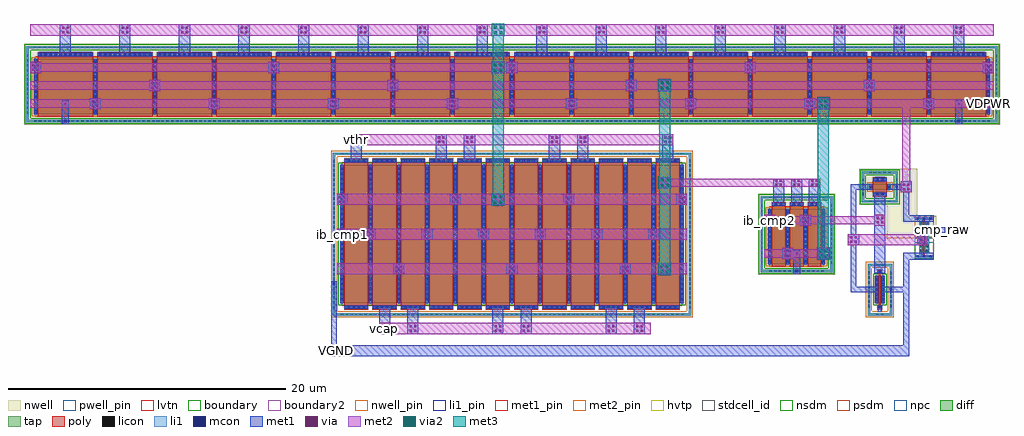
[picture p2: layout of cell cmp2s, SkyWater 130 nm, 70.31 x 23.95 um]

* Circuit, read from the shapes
.subckt cmp2s VDPWR VGND cmp_raw ib_cmp1 ib_cmp2 vcap vthr
XM1 ib_cmp1 vthr cmp2s_arr_0/sky130_fd_pr__nfet_01v8_lvt_XN8TAG_0/D0 VGND sky130_fd_pr__nfet_01v8_lvt w=10 l=1.75 m=6
XM2 cmp2s_arr_0/sky130_fd_pr__nfet_01v8_lvt_XN8TAG_0/D10 vcap ib_cmp1 VGND sky130_fd_pr__nfet_01v8_lvt w=10 l=1.75 m=6
XM3 VGND ib_cmp2 cmp2s_arr_0/sky130_fd_sc_hd__inv_1_5/A VGND sky130_fd_pr__nfet_01v8 w=2 l=0.15
XM4 cmp_raw cmp2s_arr_0/sky130_fd_sc_hd__inv_1_5/A VGND VGND sky130_fd_pr__nfet_01v8 w=0.65 l=0.15
XM5 VDPWR cmp2s_arr_0/sky130_fd_pr__nfet_01v8_lvt_XN8TAG_0/D0 cmp2s_arr_0/sky130_fd_pr__nfet_01v8_lvt_XN8TAG_0/D0 VDPWR sky130_fd_pr__pfet_01v8_lvt w=4 l=4 m=8
XM6 cmp2s_arr_0/sky130_fd_pr__nfet_01v8_lvt_XN8TAG_0/D10 cmp2s_arr_0/sky130_fd_pr__nfet_01v8_lvt_XN8TAG_0/D0 VDPWR VDPWR sky130_fd_pr__pfet_01v8_lvt w=4 l=4 m=8
XM7 VDPWR cmp2s_arr_0/sky130_fd_pr__nfet_01v8_lvt_XN8TAG_0/D10 ib_cmp2 VDPWR sky130_fd_pr__pfet_01v8_lvt w=4 l=1 m=3
XM8 VDPWR ib_cmp2 cmp2s_arr_0/sky130_fd_sc_hd__inv_1_5/A VDPWR sky130_fd_pr__pfet_01v8 w=0.42 l=1
XM9 cmp_raw cmp2s_arr_0/sky130_fd_sc_hd__inv_1_5/A VDPWR VDPWR sky130_fd_pr__pfet_01v8_hvt w=1 l=0.15
.ends

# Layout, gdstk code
import gdstk
lib = gdstk.Library(unit=1e-6, precision=1e-09)
def R(c, l, rs):  # rectangles x0, y0, x1, y1
    for r in rs: c.add(gdstk.rectangle(r[:2], r[2:], *l))
def A(c, l, x, y, w, h, nx, ny, dx, dy):  # array of equal rectangles
    R(c, l, [(x+i*dx, y+j*dy, x+i*dx+w, y+j*dy+h) for i in range(nx) for j in range(ny)])
def P(c, l, *ps):  # polygons
    for p in ps: c.add(gdstk.Polygon(p, *l))
nwell_pin = (64, 16)
nwell = (64, 20)
diff = (65, 20)
tap = (65, 44)
poly = (66, 20)
licon = (66, 44)
li1_pin = (67, 16)
li1 = (67, 20)
mcon = (67, 44)
met1_pin = (68, 16)
met1 = (68, 20)
via = (68, 44)
met2_pin = (69, 16)
met2 = (69, 20)
via2 = (69, 44)
met3 = (70, 20)
hvtp = (78, 44)
stdcell_id = (81, 4)
nsdm = (93, 44)
psdm = (94, 20)
npc = (95, 20)
pwell_pin = (122, 16)
lvtn = (125, 44)
boundary = (235, 4)
boundary2 = (236, 0)

sky130_fd_pr__nfet_01v8_ = lib.new_cell('sky130_fd_pr__nfet_01v8_lvt_XN8TAG')
R(sky130_fd_pr__nfet_01v8_, diff, [(-12.385,-5,12.385,5)])
R(sky130_fd_pr__nfet_01v8_, tap, [(-12.895,-5.87,12.895,-5.7), (-12.895,-5.7,-12.725,5.7), (12.725,-5.7,12.895,5.7), (-12.895,5.7,12.895,5.87)])
A(sky130_fd_pr__nfet_01v8_, poly, -12.095, -5.44, 1.75, 10.88, 12, 1, 2.04, 0)
A(sky130_fd_pr__nfet_01v8_, licon, -12.325, -5.87, 0.17, 0.17, 73, 2, 0.34, 11.57)
A(sky130_fd_pr__nfet_01v8_, licon, -11.985, -5.36, 0.17, 0.17, 5, 2, 0.34, 10.55)
A(sky130_fd_pr__nfet_01v8_, licon, -9.945, -5.36, 0.17, 0.17, 5, 2, 0.34, 10.55)
A(sky130_fd_pr__nfet_01v8_, licon, -7.905, -5.36, 0.17, 0.17, 5, 2, 0.34, 10.55)
A(sky130_fd_pr__nfet_01v8_, licon, -5.865, -5.36, 0.17, 0.17, 5, 2, 0.34, 10.55)
A(sky130_fd_pr__nfet_01v8_, licon, -3.825, -5.36, 0.17, 0.17, 5, 2, 0.34, 10.55)
A(sky130_fd_pr__nfet_01v8_, licon, -1.785, -5.36, 0.17, 0.17, 5, 2, 0.34, 10.55)
A(sky130_fd_pr__nfet_01v8_, licon, 0.255, -5.36, 0.17, 0.17, 5, 2, 0.34, 10.55)
A(sky130_fd_pr__nfet_01v8_, licon, 2.295, -5.36, 0.17, 0.17, 5, 2, 0.34, 10.55)
A(sky130_fd_pr__nfet_01v8_, licon, 4.335, -5.36, 0.17, 0.17, 5, 2, 0.34, 10.55)
A(sky130_fd_pr__nfet_01v8_, licon, 6.375, -5.36, 0.17, 0.17, 5, 2, 0.34, 10.55)
A(sky130_fd_pr__nfet_01v8_, licon, 8.415, -5.36, 0.17, 0.17, 5, 2, 0.34, 10.55)
A(sky130_fd_pr__nfet_01v8_, licon, 10.455, -5.36, 0.17, 0.17, 5, 2, 0.34, 10.55)
A(sky130_fd_pr__nfet_01v8_, licon, -12.895, -5.355, 0.17, 0.17, 1, 32, 0, 0.34)
A(sky130_fd_pr__nfet_01v8_, licon, 12.725, -5.355, 0.17, 0.17, 1, 32, 0, 0.34)
A(sky130_fd_pr__nfet_01v8_, licon, -12.325, -4.845, 0.17, 0.17, 13, 29, 2.04, 0.34)
A(sky130_fd_pr__nfet_01v8_, li1, -12.095, -5.36, 1.75, 0.17, 12, 2, 2.04, 10.55)
A(sky130_fd_pr__nfet_01v8_, li1, -12.325, -5.02, 0.17, 10.04, 13, 1, 2.04, 0)
R(sky130_fd_pr__nfet_01v8_, li1, [(-12.895,-5.87,12.895,-5.7), (-12.895,-5.7,-12.725,5.7), (12.725,-5.7,12.895,5.7), (-12.895,5.7,12.895,5.87)])
A(sky130_fd_pr__nfet_01v8_, mcon, -11.845, -5.36, 0.17, 0.17, 4, 2, 0.36, 10.55)
A(sky130_fd_pr__nfet_01v8_, mcon, -9.805, -5.36, 0.17, 0.17, 4, 2, 0.36, 10.55)
A(sky130_fd_pr__nfet_01v8_, mcon, -7.765, -5.36, 0.17, 0.17, 4, 2, 0.36, 10.55)
A(sky130_fd_pr__nfet_01v8_, mcon, -5.725, -5.36, 0.17, 0.17, 4, 2, 0.36, 10.55)
A(sky130_fd_pr__nfet_01v8_, mcon, -3.685, -5.36, 0.17, 0.17, 4, 2, 0.36, 10.55)
A(sky130_fd_pr__nfet_01v8_, mcon, -1.645, -5.36, 0.17, 0.17, 4, 2, 0.36, 10.55)
A(sky130_fd_pr__nfet_01v8_, mcon, 0.395, -5.36, 0.17, 0.17, 4, 2, 0.36, 10.55)
A(sky130_fd_pr__nfet_01v8_, mcon, 2.435, -5.36, 0.17, 0.17, 4, 2, 0.36, 10.55)
A(sky130_fd_pr__nfet_01v8_, mcon, 4.475, -5.36, 0.17, 0.17, 4, 2, 0.36, 10.55)
A(sky130_fd_pr__nfet_01v8_, mcon, 6.515, -5.36, 0.17, 0.17, 4, 2, 0.36, 10.55)
A(sky130_fd_pr__nfet_01v8_, mcon, 8.555, -5.36, 0.17, 0.17, 4, 2, 0.36, 10.55)
A(sky130_fd_pr__nfet_01v8_, mcon, 10.595, -5.36, 0.17, 0.17, 4, 2, 0.36, 10.55)
A(sky130_fd_pr__nfet_01v8_, mcon, -12.325, -4.765, 0.17, 0.17, 13, 27, 2.04, 0.36)
A(sky130_fd_pr__nfet_01v8_, met1, -12.075, -5.39, 1.71, 0.23, 12, 2, 2.04, 10.55)
A(sky130_fd_pr__nfet_01v8_, met1, -12.355, -5, 0.23, 10, 13, 1, 2.04, 0)
R(sky130_fd_pr__nfet_01v8_, nsdm, [(-12.51,-5.125,12.51,5.125)])
R(sky130_fd_pr__nfet_01v8_, psdm, [(-13.02,-5.995,13.02,-5.575), (-13.02,-5.575,-12.6,5.575), (12.6,-5.575,13.02,5.575), (-13.02,5.575,13.02,5.995)])
A(sky130_fd_pr__nfet_01v8_, npc, -12.085, -5.46, 1.73, 0.37, 12, 2, 2.04, 10.55)
R(sky130_fd_pr__nfet_01v8_, lvtn, [(-12.275,-5.18,12.275,5.18)])
R(sky130_fd_pr__nfet_01v8_, boundary, [(-12.81,-5.785,12.81,5.785)])
sky130_fd_pr__nfet_01v8_.add(gdstk.Label('B', (0,-5.785), layer=67, texttype=5))
sky130_fd_pr__nfet_01v8_.add(gdstk.Label('D0', (-12.24,0), layer=67, texttype=5))
sky130_fd_pr__nfet_01v8_.add(gdstk.Label('G0', (-11.22,5.275), layer=67, texttype=5))
sky130_fd_pr__nfet_01v8_.add(gdstk.Label('S1', (-10.2,0), layer=67, texttype=5))
sky130_fd_pr__nfet_01v8_.add(gdstk.Label('G1', (-9.18,5.275), layer=67, texttype=5))
sky130_fd_pr__nfet_01v8_.add(gdstk.Label('D2', (-8.16,0), layer=67, texttype=5))
sky130_fd_pr__nfet_01v8_.add(gdstk.Label('G2', (-7.14,5.275), layer=67, texttype=5))
sky130_fd_pr__nfet_01v8_.add(gdstk.Label('S3', (-6.12,0), layer=67, texttype=5))
sky130_fd_pr__nfet_01v8_.add(gdstk.Label('G3', (-5.1,5.275), layer=67, texttype=5))
sky130_fd_pr__nfet_01v8_.add(gdstk.Label('D4', (-4.08,0), layer=67, texttype=5))
sky130_fd_pr__nfet_01v8_.add(gdstk.Label('G4', (-3.06,5.275), layer=67, texttype=5))
sky130_fd_pr__nfet_01v8_.add(gdstk.Label('S5', (-2.04,0), layer=67, texttype=5))
sky130_fd_pr__nfet_01v8_.add(gdstk.Label('G5', (-1.02,5.275), layer=67, texttype=5))
sky130_fd_pr__nfet_01v8_.add(gdstk.Label('D6', (0,0), layer=67, texttype=5))
sky130_fd_pr__nfet_01v8_.add(gdstk.Label('G6', (1.02,5.275), layer=67, texttype=5))
sky130_fd_pr__nfet_01v8_.add(gdstk.Label('S7', (2.04,0), layer=67, texttype=5))
sky130_fd_pr__nfet_01v8_.add(gdstk.Label('G7', (3.06,5.275), layer=67, texttype=5))
sky130_fd_pr__nfet_01v8_.add(gdstk.Label('D8', (4.08,0), layer=67, texttype=5))
sky130_fd_pr__nfet_01v8_.add(gdstk.Label('G8', (5.1,5.275), layer=67, texttype=5))
sky130_fd_pr__nfet_01v8_.add(gdstk.Label('S9', (6.12,0), layer=67, texttype=5))
sky130_fd_pr__nfet_01v8_.add(gdstk.Label('G9', (7.14,5.275), layer=67, texttype=5))
sky130_fd_pr__nfet_01v8_.add(gdstk.Label('D10', (8.16,0), layer=67, texttype=5))
sky130_fd_pr__nfet_01v8_.add(gdstk.Label('G10', (9.18,5.275), layer=67, texttype=5))
sky130_fd_pr__nfet_01v8_.add(gdstk.Label('S11', (10.2,0), layer=67, texttype=5))
sky130_fd_pr__nfet_01v8_.add(gdstk.Label('G11', (11.22,5.275), layer=67, texttype=5))

sky130_fd_pr__pfet_01v8_ = lib.new_cell('sky130_fd_pr__pfet_01v8_23FNSU')
R(sky130_fd_pr__pfet_01v8_, nwell, [(-1.48,-1.305,1.48,1.305)])
R(sky130_fd_pr__pfet_01v8_, diff, [(-0.79,-0.21,0.79,0.21)])
R(sky130_fd_pr__pfet_01v8_, tap, [(-1.3,-1.125,1.3,-0.955), (-1.3,-0.955,-1.13,0.955), (1.13,-0.955,1.3,0.955), (-1.3,0.955,1.3,1.125)])
R(sky130_fd_pr__pfet_01v8_, poly, [(-0.5,-0.695,0.5,0.695)])
A(sky130_fd_pr__pfet_01v8_, licon, -0.765, -1.125, 0.17, 0.17, 5, 2, 0.34, 2.08)
A(sky130_fd_pr__pfet_01v8_, licon, -1.3, -0.595, 0.17, 0.17, 1, 4, 0, 0.34)
A(sky130_fd_pr__pfet_01v8_, licon, 1.13, -0.595, 0.17, 0.17, 1, 4, 0, 0.34)
R(sky130_fd_pr__pfet_01v8_, licon, [(-0.255,-0.615,-0.085,-0.445), (0.085,-0.615,0.255,-0.445), (-0.73,-0.085,-0.56,0.085), (0.56,-0.085,0.73,0.085), (-0.255,0.445,-0.085,0.615), (0.085,0.445,0.255,0.615)])
R(sky130_fd_pr__pfet_01v8_, li1, [(-1.3,-1.125,1.3,-0.955), (-1.3,-0.955,-1.13,0.955), (1.13,-0.955,1.3,0.955), (-0.5,-0.615,0.5,-0.445), (-0.73,-0.23,-0.56,0.23), (0.56,-0.23,0.73,0.23), (-0.5,0.445,0.5,0.615), (-1.3,0.955,1.3,1.125)])
R(sky130_fd_pr__pfet_01v8_, mcon, [(-0.265,-0.615,-0.095,-0.445), (0.095,-0.615,0.265,-0.445), (-0.73,-0.085,-0.56,0.085), (0.56,-0.085,0.73,0.085), (-0.265,0.445,-0.095,0.615), (0.095,0.445,0.265,0.615)])
R(sky130_fd_pr__pfet_01v8_, met1, [(-0.48,-0.645,0.48,-0.415), (-0.76,-0.21,-0.53,0.21), (0.53,-0.21,0.76,0.21), (-0.48,0.415,0.48,0.645)])
R(sky130_fd_pr__pfet_01v8_, nsdm, [(-1.425,-1.25,1.425,-0.83), (-1.425,-0.83,-1.005,0.83), (1.005,-0.83,1.425,0.83), (-1.425,0.83,1.425,1.25)])
R(sky130_fd_pr__pfet_01v8_, psdm, [(-0.915,-0.335,0.915,0.335)])
R(sky130_fd_pr__pfet_01v8_, npc, [(-0.355,-0.715,0.355,-0.345), (-0.355,0.345,0.355,0.715)])
R(sky130_fd_pr__pfet_01v8_, boundary, [(-1.215,-1.04,1.215,1.04)])
sky130_fd_pr__pfet_01v8_.add(gdstk.Label('B', (0,-1.04), layer=67, texttype=5))
sky130_fd_pr__pfet_01v8_.add(gdstk.Label('D', (-0.645,0), layer=67, texttype=5))
sky130_fd_pr__pfet_01v8_.add(gdstk.Label('S', (0.645,0), layer=67, texttype=5))
sky130_fd_pr__pfet_01v8_.add(gdstk.Label('G', (0,0.53), layer=67, texttype=5))

c_sky130_fd_pr__nfet_01v8_ = lib.new_cell('sky130_fd_pr__nfet_01v8_NK2ZG9')
R(c_sky130_fd_pr__nfet_01v8_, diff, [(-0.365,-1,0.365,1)])
R(c_sky130_fd_pr__nfet_01v8_, tap, [(-0.875,-1.87,0.875,-1.7), (-0.875,-1.7,-0.705,1.7), (0.705,-1.7,0.875,1.7), (-0.875,1.7,0.875,1.87)])
R(c_sky130_fd_pr__nfet_01v8_, poly, [(-0.165,-1.44,0.165,-1.11), (-0.075,-1.11,0.075,1.11), (-0.165,1.11,0.165,1.44)])
A(c_sky130_fd_pr__nfet_01v8_, licon, -0.875, -1.275, 0.17, 0.17, 1, 8, 0, 0.34)
A(c_sky130_fd_pr__nfet_01v8_, licon, 0.705, -1.275, 0.17, 0.17, 1, 8, 0, 0.34)
A(c_sky130_fd_pr__nfet_01v8_, licon, -0.305, -0.935, 0.17, 0.17, 1, 6, 0, 0.34)
A(c_sky130_fd_pr__nfet_01v8_, licon, 0.135, -0.935, 0.17, 0.17, 1, 6, 0, 0.34)
R(c_sky130_fd_pr__nfet_01v8_, licon, [(-0.255,-1.87,-0.085,-1.7), (0.085,-1.87,0.255,-1.7), (-0.085,-1.36,0.085,-1.19), (-0.085,1.19,0.085,1.36), (-0.255,1.7,-0.085,1.87), (0.085,1.7,0.255,1.87)])
R(c_sky130_fd_pr__nfet_01v8_, li1, [(-0.875,-1.87,0.875,-1.7), (-0.875,-1.7,-0.705,1.7), (0.705,-1.7,0.875,1.7), (-0.165,-1.36,0.165,-1.19), (-0.305,-1.02,-0.135,1.02), (0.135,-1.02,0.305,1.02), (-0.165,1.19,0.165,1.36), (-0.875,1.7,0.875,1.87)])
A(c_sky130_fd_pr__nfet_01v8_, mcon, -0.305, -0.805, 0.17, 0.17, 1, 5, 0, 0.36)
A(c_sky130_fd_pr__nfet_01v8_, mcon, 0.135, -0.805, 0.17, 0.17, 1, 5, 0, 0.36)
R(c_sky130_fd_pr__nfet_01v8_, mcon, [(-0.085,-1.36,0.085,-1.19), (-0.085,1.19,0.085,1.36)])
R(c_sky130_fd_pr__nfet_01v8_, met1, [(-0.145,-1.39,0.145,-1.16), (-0.335,-1,-0.105,1), (0.105,-1,0.335,1), (-0.145,1.16,0.145,1.39)])
R(c_sky130_fd_pr__nfet_01v8_, nsdm, [(-0.49,-1.125,0.49,1.125)])
R(c_sky130_fd_pr__nfet_01v8_, psdm, [(-1,-1.995,1,-1.575), (-1,-1.575,-0.58,1.575), (0.58,-1.575,1,1.575), (-1,1.575,1,1.995)])
R(c_sky130_fd_pr__nfet_01v8_, npc, [(-0.185,-1.46,0.185,-1.09), (-0.185,1.09,0.185,1.46)])
R(c_sky130_fd_pr__nfet_01v8_, boundary, [(-0.79,-1.785,0.79,1.785)])
c_sky130_fd_pr__nfet_01v8_.add(gdstk.Label('B', (0,-1.785), layer=67, texttype=5))
c_sky130_fd_pr__nfet_01v8_.add(gdstk.Label('D', (-0.22,0), layer=67, texttype=5))
c_sky130_fd_pr__nfet_01v8_.add(gdstk.Label('S', (0.22,0), layer=67, texttype=5))
c_sky130_fd_pr__nfet_01v8_.add(gdstk.Label('G', (0,1.275), layer=67, texttype=5))

c_sky130_fd_pr__pfet_01v8_ = lib.new_cell('sky130_fd_pr__pfet_01v8_lvt_8EW399')
R(c_sky130_fd_pr__pfet_01v8_, nwell, [(-2.77,-2.92,2.77,2.92)])
R(c_sky130_fd_pr__pfet_01v8_, diff, [(-2.08,-2.18,2.08,1.82)])
R(c_sky130_fd_pr__pfet_01v8_, tap, [(-2.59,-2.74,2.59,-2.57), (-2.59,-2.57,-2.42,2.57), (2.42,-2.57,2.59,2.57), (-2.59,2.57,2.59,2.74)])
A(c_sky130_fd_pr__pfet_01v8_, poly, -1.79, -2.31, 1, 4.615, 3, 1, 1.29, 0)
A(c_sky130_fd_pr__pfet_01v8_, licon, -1.955, -2.74, 0.17, 0.17, 12, 2, 0.34, 5.31)
A(c_sky130_fd_pr__pfet_01v8_, licon, -2.59, -2.125, 0.17, 0.17, 1, 13, 0, 0.34)
A(c_sky130_fd_pr__pfet_01v8_, licon, 2.42, -2.125, 0.17, 0.17, 1, 13, 0, 0.34)
A(c_sky130_fd_pr__pfet_01v8_, licon, -2.02, -1.965, 0.17, 0.17, 4, 11, 1.29, 0.34)
R(c_sky130_fd_pr__pfet_01v8_, licon, [(-1.545,2.055,-1.375,2.225), (-1.205,2.055,-1.035,2.225), (-0.255,2.055,-0.085,2.225), (0.085,2.055,0.255,2.225), (1.035,2.055,1.205,2.225), (1.375,2.055,1.545,2.225)])
A(c_sky130_fd_pr__pfet_01v8_, li1, -2.02, -2.2, 0.17, 4.04, 4, 1, 1.29, 0)
A(c_sky130_fd_pr__pfet_01v8_, li1, -1.79, 2.055, 1, 0.17, 3, 1, 1.29, 0)
R(c_sky130_fd_pr__pfet_01v8_, li1, [(-2.59,-2.74,2.59,-2.57), (-2.59,-2.57,-2.42,2.57), (2.42,-2.57,2.59,2.57), (-2.59,2.57,2.59,2.74)])
A(c_sky130_fd_pr__pfet_01v8_, mcon, -2.02, -2.065, 0.17, 0.17, 4, 11, 1.29, 0.36)
R(c_sky130_fd_pr__pfet_01v8_, mcon, [(-1.555,2.055,-1.385,2.225), (-1.195,2.055,-1.025,2.225), (-0.265,2.055,-0.095,2.225), (0.095,2.055,0.265,2.225), (1.025,2.055,1.195,2.225), (1.385,2.055,1.555,2.225)])
A(c_sky130_fd_pr__pfet_01v8_, met1, -2.05, -2.18, 0.23, 4, 4, 1, 1.29, 0)
A(c_sky130_fd_pr__pfet_01v8_, met1, -1.77, 2.025, 0.96, 0.23, 3, 1, 1.29, 0)
R(c_sky130_fd_pr__pfet_01v8_, nsdm, [(-2.715,-2.865,2.715,-2.445), (-2.715,-2.445,-2.295,2.445), (2.295,-2.445,2.715,2.445), (-2.715,2.445,2.715,2.865)])
R(c_sky130_fd_pr__pfet_01v8_, psdm, [(-2.205,-2.305,2.205,1.945)])
A(c_sky130_fd_pr__pfet_01v8_, npc, -1.645, 1.955, 0.71, 0.37, 3, 1, 1.29, 0)
R(c_sky130_fd_pr__pfet_01v8_, lvtn, [(-1.97,-2.36,1.97,2)])
R(c_sky130_fd_pr__pfet_01v8_, boundary, [(-2.505,-2.655,2.505,2.655)])
c_sky130_fd_pr__pfet_01v8_.add(gdstk.Label('B', (0,-2.655), layer=67, texttype=5))
c_sky130_fd_pr__pfet_01v8_.add(gdstk.Label('D0', (-1.935,-0.18), layer=67, texttype=5))
c_sky130_fd_pr__pfet_01v8_.add(gdstk.Label('G0', (-1.29,2.14), layer=67, texttype=5))
c_sky130_fd_pr__pfet_01v8_.add(gdstk.Label('S1', (-0.645,-0.18), layer=67, texttype=5))
c_sky130_fd_pr__pfet_01v8_.add(gdstk.Label('G1', (0,2.14), layer=67, texttype=5))
c_sky130_fd_pr__pfet_01v8_.add(gdstk.Label('D2', (0.645,-0.18), layer=67, texttype=5))
c_sky130_fd_pr__pfet_01v8_.add(gdstk.Label('S2', (1.935,-0.18), layer=67, texttype=5))
c_sky130_fd_pr__pfet_01v8_.add(gdstk.Label('G2', (1.29,2.14), layer=67, texttype=5))

c_sky130_fd_pr__pfet_01v8__ = lib.new_cell('sky130_fd_pr__pfet_01v8_lvt_3R9C5A')
R(c_sky130_fd_pr__pfet_01v8__, nwell, [(-35.155,-2.92,35.155,2.92)])
R(c_sky130_fd_pr__pfet_01v8__, diff, [(-34.465,-2.18,34.465,1.82)])
R(c_sky130_fd_pr__pfet_01v8__, tap, [(-34.975,-2.74,34.975,-2.57), (-34.975,-2.57,-34.805,2.57), (34.805,-2.57,34.975,2.57), (-34.975,2.57,34.975,2.74)])
A(c_sky130_fd_pr__pfet_01v8__, poly, -34.175, -2.31, 4, 4.615, 16, 1, 4.29, 0)
A(c_sky130_fd_pr__pfet_01v8__, licon, -34.425, -2.74, 0.17, 0.17, 203, 2, 0.34, 5.31)
A(c_sky130_fd_pr__pfet_01v8__, licon, -34.975, -2.125, 0.17, 0.17, 1, 13, 0, 0.34)
A(c_sky130_fd_pr__pfet_01v8__, licon, 34.805, -2.125, 0.17, 0.17, 1, 13, 0, 0.34)
A(c_sky130_fd_pr__pfet_01v8__, licon, -34.405, -1.965, 0.17, 0.17, 17, 11, 4.29, 0.34)
A(c_sky130_fd_pr__pfet_01v8__, licon, -33.96, 2.055, 0.17, 0.17, 11, 1, 0.34, 0)
A(c_sky130_fd_pr__pfet_01v8__, licon, -29.67, 2.055, 0.17, 0.17, 11, 1, 0.34, 0)
A(c_sky130_fd_pr__pfet_01v8__, licon, -25.38, 2.055, 0.17, 0.17, 11, 1, 0.34, 0)
A(c_sky130_fd_pr__pfet_01v8__, licon, -21.09, 2.055, 0.17, 0.17, 11, 1, 0.34, 0)
A(c_sky130_fd_pr__pfet_01v8__, licon, -16.8, 2.055, 0.17, 0.17, 11, 1, 0.34, 0)
A(c_sky130_fd_pr__pfet_01v8__, licon, -12.51, 2.055, 0.17, 0.17, 11, 1, 0.34, 0)
A(c_sky130_fd_pr__pfet_01v8__, licon, -8.22, 2.055, 0.17, 0.17, 11, 1, 0.34, 0)
A(c_sky130_fd_pr__pfet_01v8__, licon, -3.93, 2.055, 0.17, 0.17, 11, 1, 0.34, 0)
A(c_sky130_fd_pr__pfet_01v8__, licon, 0.36, 2.055, 0.17, 0.17, 11, 1, 0.34, 0)
A(c_sky130_fd_pr__pfet_01v8__, licon, 4.65, 2.055, 0.17, 0.17, 11, 1, 0.34, 0)
A(c_sky130_fd_pr__pfet_01v8__, licon, 8.94, 2.055, 0.17, 0.17, 11, 1, 0.34, 0)
A(c_sky130_fd_pr__pfet_01v8__, licon, 13.23, 2.055, 0.17, 0.17, 11, 1, 0.34, 0)
A(c_sky130_fd_pr__pfet_01v8__, licon, 17.52, 2.055, 0.17, 0.17, 11, 1, 0.34, 0)
A(c_sky130_fd_pr__pfet_01v8__, licon, 21.81, 2.055, 0.17, 0.17, 11, 1, 0.34, 0)
A(c_sky130_fd_pr__pfet_01v8__, licon, 26.1, 2.055, 0.17, 0.17, 11, 1, 0.34, 0)
A(c_sky130_fd_pr__pfet_01v8__, licon, 30.39, 2.055, 0.17, 0.17, 11, 1, 0.34, 0)
A(c_sky130_fd_pr__pfet_01v8__, li1, -34.405, -2.2, 0.17, 4.04, 17, 1, 4.29, 0)
A(c_sky130_fd_pr__pfet_01v8__, li1, -34.175, 2.055, 4, 0.17, 16, 1, 4.29, 0)
R(c_sky130_fd_pr__pfet_01v8__, li1, [(-34.975,-2.74,34.975,-2.57), (-34.975,-2.57,-34.805,2.57), (34.805,-2.57,34.975,2.57), (-34.975,2.57,34.975,2.74)])
A(c_sky130_fd_pr__pfet_01v8__, mcon, -34.405, -2.065, 0.17, 0.17, 17, 11, 4.29, 0.36)
A(c_sky130_fd_pr__pfet_01v8__, mcon, -34.06, 2.055, 0.17, 0.17, 11, 1, 0.36, 0)
A(c_sky130_fd_pr__pfet_01v8__, mcon, -29.77, 2.055, 0.17, 0.17, 11, 1, 0.36, 0)
A(c_sky130_fd_pr__pfet_01v8__, mcon, -25.48, 2.055, 0.17, 0.17, 11, 1, 0.36, 0)
A(c_sky130_fd_pr__pfet_01v8__, mcon, -21.19, 2.055, 0.17, 0.17, 11, 1, 0.36, 0)
A(c_sky130_fd_pr__pfet_01v8__, mcon, -16.9, 2.055, 0.17, 0.17, 11, 1, 0.36, 0)
A(c_sky130_fd_pr__pfet_01v8__, mcon, -12.61, 2.055, 0.17, 0.17, 11, 1, 0.36, 0)
A(c_sky130_fd_pr__pfet_01v8__, mcon, -8.32, 2.055, 0.17, 0.17, 11, 1, 0.36, 0)
A(c_sky130_fd_pr__pfet_01v8__, mcon, -4.03, 2.055, 0.17, 0.17, 11, 1, 0.36, 0)
A(c_sky130_fd_pr__pfet_01v8__, mcon, 0.26, 2.055, 0.17, 0.17, 11, 1, 0.36, 0)
A(c_sky130_fd_pr__pfet_01v8__, mcon, 4.55, 2.055, 0.17, 0.17, 11, 1, 0.36, 0)
A(c_sky130_fd_pr__pfet_01v8__, mcon, 8.84, 2.055, 0.17, 0.17, 11, 1, 0.36, 0)
A(c_sky130_fd_pr__pfet_01v8__, mcon, 13.13, 2.055, 0.17, 0.17, 11, 1, 0.36, 0)
A(c_sky130_fd_pr__pfet_01v8__, mcon, 17.42, 2.055, 0.17, 0.17, 11, 1, 0.36, 0)
A(c_sky130_fd_pr__pfet_01v8__, mcon, 21.71, 2.055, 0.17, 0.17, 11, 1, 0.36, 0)
A(c_sky130_fd_pr__pfet_01v8__, mcon, 26, 2.055, 0.17, 0.17, 11, 1, 0.36, 0)
A(c_sky130_fd_pr__pfet_01v8__, mcon, 30.29, 2.055, 0.17, 0.17, 11, 1, 0.36, 0)
A(c_sky130_fd_pr__pfet_01v8__, met1, -34.435, -2.18, 0.23, 4, 17, 1, 4.29, 0)
A(c_sky130_fd_pr__pfet_01v8__, met1, -34.155, 2.025, 3.96, 0.23, 16, 1, 4.29, 0)
R(c_sky130_fd_pr__pfet_01v8__, nsdm, [(-35.1,-2.865,35.1,-2.445), (-35.1,-2.445,-34.68,2.445), (34.68,-2.445,35.1,2.445), (-35.1,2.445,35.1,2.865)])
R(c_sky130_fd_pr__pfet_01v8__, psdm, [(-34.59,-2.305,34.59,1.945)])
A(c_sky130_fd_pr__pfet_01v8__, npc, -34.06, 1.955, 3.77, 0.37, 16, 1, 4.29, 0)
R(c_sky130_fd_pr__pfet_01v8__, lvtn, [(-34.355,-2.36,34.355,2)])
R(c_sky130_fd_pr__pfet_01v8__, boundary, [(-34.89,-2.655,34.89,2.655)])
c_sky130_fd_pr__pfet_01v8__.add(gdstk.Label('B', (0,-2.655), layer=67, texttype=5))
c_sky130_fd_pr__pfet_01v8__.add(gdstk.Label('D0', (-34.32,-0.18), layer=67, texttype=5))
c_sky130_fd_pr__pfet_01v8__.add(gdstk.Label('G0', (-32.175,2.14), layer=67, texttype=5))
c_sky130_fd_pr__pfet_01v8__.add(gdstk.Label('S1', (-30.03,-0.18), layer=67, texttype=5))
c_sky130_fd_pr__pfet_01v8__.add(gdstk.Label('G1', (-27.885,2.14), layer=67, texttype=5))
c_sky130_fd_pr__pfet_01v8__.add(gdstk.Label('D2', (-25.74,-0.18), layer=67, texttype=5))
c_sky130_fd_pr__pfet_01v8__.add(gdstk.Label('G2', (-23.595,2.14), layer=67, texttype=5))
c_sky130_fd_pr__pfet_01v8__.add(gdstk.Label('S3', (-21.45,-0.18), layer=67, texttype=5))
c_sky130_fd_pr__pfet_01v8__.add(gdstk.Label('G3', (-19.305,2.14), layer=67, texttype=5))
c_sky130_fd_pr__pfet_01v8__.add(gdstk.Label('D4', (-17.16,-0.18), layer=67, texttype=5))
c_sky130_fd_pr__pfet_01v8__.add(gdstk.Label('G4', (-15.015,2.14), layer=67, texttype=5))
c_sky130_fd_pr__pfet_01v8__.add(gdstk.Label('S5', (-12.87,-0.18), layer=67, texttype=5))
c_sky130_fd_pr__pfet_01v8__.add(gdstk.Label('G5', (-10.725,2.14), layer=67, texttype=5))
c_sky130_fd_pr__pfet_01v8__.add(gdstk.Label('D6', (-8.58,-0.18), layer=67, texttype=5))
c_sky130_fd_pr__pfet_01v8__.add(gdstk.Label('G6', (-6.435,2.14), layer=67, texttype=5))
c_sky130_fd_pr__pfet_01v8__.add(gdstk.Label('S7', (-4.29,-0.18), layer=67, texttype=5))
c_sky130_fd_pr__pfet_01v8__.add(gdstk.Label('G7', (-2.145,2.14), layer=67, texttype=5))
c_sky130_fd_pr__pfet_01v8__.add(gdstk.Label('D8', (0,-0.18), layer=67, texttype=5))
c_sky130_fd_pr__pfet_01v8__.add(gdstk.Label('G8', (2.145,2.14), layer=67, texttype=5))
c_sky130_fd_pr__pfet_01v8__.add(gdstk.Label('S9', (4.29,-0.18), layer=67, texttype=5))
c_sky130_fd_pr__pfet_01v8__.add(gdstk.Label('G9', (6.435,2.14), layer=67, texttype=5))
c_sky130_fd_pr__pfet_01v8__.add(gdstk.Label('D10', (8.58,-0.18), layer=67, texttype=5))
c_sky130_fd_pr__pfet_01v8__.add(gdstk.Label('G10', (10.725,2.14), layer=67, texttype=5))
c_sky130_fd_pr__pfet_01v8__.add(gdstk.Label('S11', (12.87,-0.18), layer=67, texttype=5))
c_sky130_fd_pr__pfet_01v8__.add(gdstk.Label('G11', (15.015,2.14), layer=67, texttype=5))
c_sky130_fd_pr__pfet_01v8__.add(gdstk.Label('D12', (17.16,-0.18), layer=67, texttype=5))
c_sky130_fd_pr__pfet_01v8__.add(gdstk.Label('G12', (19.305,2.14), layer=67, texttype=5))
c_sky130_fd_pr__pfet_01v8__.add(gdstk.Label('S13', (21.45,-0.18), layer=67, texttype=5))
c_sky130_fd_pr__pfet_01v8__.add(gdstk.Label('G13', (23.595,2.14), layer=67, texttype=5))
c_sky130_fd_pr__pfet_01v8__.add(gdstk.Label('D14', (25.74,-0.18), layer=67, texttype=5))
c_sky130_fd_pr__pfet_01v8__.add(gdstk.Label('G14', (27.885,2.14), layer=67, texttype=5))
c_sky130_fd_pr__pfet_01v8__.add(gdstk.Label('S15', (30.03,-0.18), layer=67, texttype=5))
c_sky130_fd_pr__pfet_01v8__.add(gdstk.Label('G15', (32.175,2.14), layer=67, texttype=5))

sky130_fd_sc_hd__inv_1 = lib.new_cell('sky130_fd_sc_hd__inv_1')
R(sky130_fd_sc_hd__inv_1, nwell_pin, [(0.145,2.635,0.315,2.805), (0.145,2.635,0.315,2.805)])
R(sky130_fd_sc_hd__inv_1, nwell, [(-0.19,1.305,1.57,2.91)])
R(sky130_fd_sc_hd__inv_1, diff, [(0.34,0.235,1.01,0.885), (0.34,1.485,1.01,2.485)])
P(sky130_fd_sc_hd__inv_1, poly, [(0.75,2.615),(0.6,2.615),(0.6,1.325),(0.32,1.325),(0.32,0.995),(0.6,0.995),(0.6,0.105),(0.75,0.105)])
A(sky130_fd_sc_hd__inv_1, licon, 0.38, 1.575, 0.17, 0.17, 1, 3, 0, 0.34)
A(sky130_fd_sc_hd__inv_1, licon, 0.8, 1.575, 0.17, 0.17, 1, 3, 0, 0.34)
R(sky130_fd_sc_hd__inv_1, licon, [(0.38,0.315,0.55,0.485), (0.8,0.315,0.97,0.485), (0.38,0.655,0.55,0.825), (0.8,0.655,0.97,0.825), (0.4,1.075,0.57,1.245)])
R(sky130_fd_sc_hd__inv_1, li1_pin, [(0.36,1.105,0.53,1.275), (0.82,1.105,0.99,1.275), (0.82,1.445,0.99,1.615)])
R(sky130_fd_sc_hd__inv_1, li1, [(0,-0.085,1.38,0.085), (0.32,0.005,0.55,0.905), (0.32,1.075,0.65,1.315), (0.34,1.495,0.55,2.675), (0,2.635,1.38,2.805)])
P(sky130_fd_sc_hd__inv_1, li1, [(1.05,2.465),(0.72,2.465),(0.72,1.485),(0.82,1.485),(0.82,0.885),(0.72,0.885),(0.72,0.255),(1.05,0.255)])
A(sky130_fd_sc_hd__inv_1, mcon, 0.145, -0.085, 0.17, 0.17, 3, 2, 0.46, 2.72)
R(sky130_fd_sc_hd__inv_1, met1_pin, [(0.145,-0.085,0.315,0.085), (0.145,-0.085,0.315,0.085), (0.145,2.635,0.315,2.805), (0.145,2.635,0.315,2.805)])
R(sky130_fd_sc_hd__inv_1, hvtp, [(0,1.25,1.38,2.72)])
R(sky130_fd_sc_hd__inv_1, stdcell_id, [(0,0,1.38,2.72)])
R(sky130_fd_sc_hd__inv_1, nsdm, [(0,-0.19,1.38,1.015)])
R(sky130_fd_sc_hd__inv_1, psdm, [(0,1.355,1.38,2.91)])
R(sky130_fd_sc_hd__inv_1, npc, [(0,0.975,1.38,1.345)])
R(sky130_fd_sc_hd__inv_1, pwell_pin, [(0.145,-0.085,0.315,0.085), (0.145,-0.085,0.315,0.085)])
R(sky130_fd_sc_hd__inv_1, boundary2, [(0,0,1.38,2.72)])
sky130_fd_sc_hd__inv_1.add(gdstk.FlexPath([(0,2.72),(1.38,2.72)], 0.48, ends="flush", simple_path=True, layer=68, datatype=20))  # met1
sky130_fd_sc_hd__inv_1.add(gdstk.FlexPath([(0,0),(1.38,0)], 0.48, ends="flush", simple_path=True, layer=68, datatype=20))  # met1
sky130_fd_sc_hd__inv_1.add(gdstk.Label('Y', (0.905,1.53), layer=67, texttype=5))
sky130_fd_sc_hd__inv_1.add(gdstk.Label('Y', (0.905,1.19), layer=67, texttype=5))
sky130_fd_sc_hd__inv_1.add(gdstk.Label('A', (0.445,1.19), layer=67, texttype=5))
sky130_fd_sc_hd__inv_1.add(gdstk.Label('VPB', (0.23,2.72), layer=64, texttype=5))
sky130_fd_sc_hd__inv_1.add(gdstk.Label('VNB', (0.23,0), layer=64, texttype=59))
sky130_fd_sc_hd__inv_1.add(gdstk.Label('VGND', (0.23,0), layer=68, texttype=5))
sky130_fd_sc_hd__inv_1.add(gdstk.Label('VPWR', (0.23,2.72), layer=68, texttype=5))
sky130_fd_sc_hd__inv_1.add(gdstk.Label('inv_1', (0,0), layer=83, texttype=44))

cmp2s_arr = lib.new_cell('cmp2s_arr')
R(cmp2s_arr, nwell, [(63,7.305,65.2,12.305)])
R(cmp2s_arr, li1, [(63.205,3.515,63.375,3.685), (23.105,3.915,23.275,4.085), (56.415,4.86,56.585,5.03), (65.4,7.11,65.57,7.28), (65.8,7.815,65.97,7.985), (63.63,10.915,63.8,11.085), (3.74,15.66,3.91,15.83), (68.09,15.66,68.26,15.83)])
R(cmp2s_arr, mcon, [(63.205,3.515,63.375,3.685), (23.105,3.915,23.275,4.085), (56.415,4.86,56.585,5.03), (65.4,7.11,65.57,7.28), (65.8,7.815,65.97,7.985), (63.63,10.915,63.8,11.085), (3.74,15.66,3.91,15.83), (68.09,15.66,68.26,15.83)])
A(cmp2s_arr, met1, 27.44, 4.7, 0.8, 0.8, 3, 1, 8.16, 0)
A(cmp2s_arr, met1, 25.4, 7.2, 0.8, 0.8, 6, 1, 4.08, 0)
A(cmp2s_arr, met1, 54.81, 9.625, 0.8, 1.975, 3, 1, 1.29, 0)
A(cmp2s_arr, met1, 23.36, 9.7, 0.8, 0.8, 4, 1, 8.16, 0)
A(cmp2s_arr, met1, 5.57, 16.6, 0.8, 0.8, 8, 1, 8.58, 0)
A(cmp2s_arr, met1, 9.86, 17.9, 0.8, 0.8, 4, 1, 17.16, 0)
A(cmp2s_arr, met1, 1.28, 19.2, 0.8, 0.8, 5, 1, 17.16, 0)
A(cmp2s_arr, met1, 3.425, 20.425, 0.8, 2.275, 16, 1, 4.29, 0)
R(cmp2s_arr, met1, [(22.99,-1.2,64.6,-0.4), (22.99,-0.4,23.39,4.2), (64.2,-0.4,64.6,3.4), (26.42,0.4,27.22,2.44), (28.46,0.4,29.26,2.44), (34.58,0.4,35.38,2.44), (36.62,0.4,37.42,2.44), (42.74,0.4,43.54,2.44), (44.78,0.4,45.58,2.44), (62.355,2,62.645,2.44), (60.4,3.4,62.395,3.8), (62.605,3.4,64.6,3.8), (60.4,3.8,60.8,6.8), (64.2,3.8,64.6,5.76), (56.25,4.745,56.75,5.8), (62.1,4.76,62.9,10.585), (64.2,5.76,65,6.24), (55.455,5.8,56.75,6.45), (58.035,5.8,58.835,6.6), (55.455,6.45,56.255,6.6), (60.2,6.8,61,7.6), (65.185,6.895,65.785,7.495), (60.4,7.6,60.8,10.8), (65.685,7.7,67.2,8.1), (54.165,8.2,54.965,9), (56.745,8.2,57.545,9), (64.2,8.48,65,8.96), (64.2,8.96,64.6,10.6), (64,10.6,64.8,10.8), (60.4,10.8,61.97,11.2), (63.03,10.8,64.8,11.2), (64,11.2,64.8,11.4), (24.38,12.76,25.18,14.8), (30.5,12.76,31.3,14.8), (32.54,12.76,33.34,14.8), (38.66,12.76,39.46,14.8), (40.7,12.76,41.5,14.8), (46.82,12.76,47.62,14.8), (3.575,15.545,4.075,17.25), (67.925,15.545,68.425,17.25)])
R(cmp2s_arr, via, [(26.585,0.565,26.735,0.715), (26.905,0.565,27.055,0.715), (28.625,0.565,28.775,0.715), (28.945,0.565,29.095,0.715), (34.745,0.565,34.895,0.715), (35.065,0.565,35.215,0.715), (36.785,0.565,36.935,0.715), (37.105,0.565,37.255,0.715), (42.905,0.565,43.055,0.715), (43.225,0.565,43.375,0.715), (44.945,0.565,45.095,0.715), (45.265,0.565,45.415,0.715), (26.585,0.885,26.735,1.035), (26.905,0.885,27.055,1.035), (28.625,0.885,28.775,1.035), (28.945,0.885,29.095,1.035), (34.745,0.885,34.895,1.035), (35.065,0.885,35.215,1.035), (36.785,0.885,36.935,1.035), (37.105,0.885,37.255,1.035), (42.905,0.885,43.055,1.035), (43.225,0.885,43.375,1.035), (44.945,0.885,45.095,1.035), (45.265,0.885,45.415,1.035), (27.605,4.865,27.755,5.015), (27.925,4.865,28.075,5.015), (35.765,4.865,35.915,5.015), (36.085,4.865,36.235,5.015), (43.925,4.865,44.075,5.015), (44.245,4.865,44.395,5.015), (27.605,5.185,27.755,5.335), (27.925,5.185,28.075,5.335), (35.765,5.185,35.915,5.335), (36.085,5.185,36.235,5.335), (43.925,5.185,44.075,5.335), (44.245,5.185,44.395,5.335), (55.62,5.965,55.77,6.115), (55.94,5.965,56.09,6.115), (58.2,5.965,58.35,6.115), (58.52,5.965,58.67,6.115), (56.425,6.125,56.575,6.275), (55.62,6.285,55.77,6.435), (55.94,6.285,56.09,6.435), (58.2,6.285,58.35,6.435), (58.52,6.285,58.67,6.435), (60.365,6.965,60.515,7.115), (60.685,6.965,60.835,7.115), (65.41,7.12,65.56,7.27), (60.365,7.285,60.515,7.435), (60.685,7.285,60.835,7.435), (25.565,7.365,25.715,7.515), (25.885,7.365,26.035,7.515), (29.645,7.365,29.795,7.515), (29.965,7.365,30.115,7.515), (33.725,7.365,33.875,7.515), (34.045,7.365,34.195,7.515), (37.805,7.365,37.955,7.515), (38.125,7.365,38.275,7.515), (41.885,7.365,42.035,7.515), (42.205,7.365,42.355,7.515), (45.965,7.365,46.115,7.515), (46.285,7.365,46.435,7.515), (25.565,7.685,25.715,7.835), (25.885,7.685,26.035,7.835), (29.645,7.685,29.795,7.835), (29.965,7.685,30.115,7.835), (33.725,7.685,33.875,7.835), (34.045,7.685,34.195,7.835), (37.805,7.685,37.955,7.835), (38.125,7.685,38.275,7.835), (41.885,7.685,42.035,7.835), (42.205,7.685,42.355,7.835), (45.965,7.685,46.115,7.835), (46.285,7.685,46.435,7.835), (54.33,8.365,54.48,8.515), (54.65,8.365,54.8,8.515), (56.91,8.365,57.06,8.515), (57.23,8.365,57.38,8.515), (54.33,8.685,54.48,8.835), (54.65,8.685,54.8,8.835), (56.91,8.685,57.06,8.835), (57.23,8.685,57.38,8.835), (23.525,9.865,23.675,10.015), (23.845,9.865,23.995,10.015), (31.685,9.865,31.835,10.015), (32.005,9.865,32.155,10.015), (39.845,9.865,39.995,10.015), (40.165,9.865,40.315,10.015), (48.005,9.865,48.155,10.015), (48.325,9.865,48.475,10.015), (23.525,10.185,23.675,10.335), (23.845,10.185,23.995,10.335), (31.685,10.185,31.835,10.335), (32.005,10.185,32.155,10.335), (39.845,10.185,39.995,10.335), (40.165,10.185,40.315,10.335), (48.005,10.185,48.155,10.335), (48.325,10.185,48.475,10.335), (64.165,10.765,64.315,10.915), (64.485,10.765,64.635,10.915), (54.975,11.065,55.125,11.215), (55.295,11.065,55.445,11.215), (56.265,11.065,56.415,11.215), (56.585,11.065,56.735,11.215), (57.555,11.065,57.705,11.215), (57.875,11.065,58.025,11.215), (64.165,11.085,64.315,11.235), (64.485,11.085,64.635,11.235), (54.975,11.385,55.125,11.535), (55.295,11.385,55.445,11.535), (56.265,11.385,56.415,11.535), (56.585,11.385,56.735,11.535), (57.555,11.385,57.705,11.535), (57.875,11.385,58.025,11.535), (24.545,14.165,24.695,14.315), (24.865,14.165,25.015,14.315), (30.665,14.165,30.815,14.315), (30.985,14.165,31.135,14.315), (32.705,14.165,32.855,14.315), (33.025,14.165,33.175,14.315), (38.825,14.165,38.975,14.315), (39.145,14.165,39.295,14.315), (40.865,14.165,41.015,14.315), (41.185,14.165,41.335,14.315), (46.985,14.165,47.135,14.315), (47.305,14.165,47.455,14.315), (24.545,14.485,24.695,14.635), (24.865,14.485,25.015,14.635), (30.665,14.485,30.815,14.635), (30.985,14.485,31.135,14.635), (32.705,14.485,32.855,14.635), (33.025,14.485,33.175,14.635), (38.825,14.485,38.975,14.635), (39.145,14.485,39.295,14.635), (40.865,14.485,41.015,14.635), (41.185,14.485,41.335,14.635), (46.985,14.485,47.135,14.635), (47.305,14.485,47.455,14.635), (5.735,16.765,5.885,16.915), (6.055,16.765,6.205,16.915), (14.315,16.765,14.465,16.915), (14.635,16.765,14.785,16.915), (22.895,16.765,23.045,16.915), (23.215,16.765,23.365,16.915), (31.475,16.765,31.625,16.915), (31.795,16.765,31.945,16.915), (40.055,16.765,40.205,16.915), (40.375,16.765,40.525,16.915), (48.635,16.765,48.785,16.915), (48.955,16.765,49.105,16.915), (57.215,16.765,57.365,16.915), (57.535,16.765,57.685,16.915), (65.795,16.765,65.945,16.915), (66.115,16.765,66.265,16.915), (3.75,16.925,3.9,17.075), (68.1,16.925,68.25,17.075), (5.735,17.085,5.885,17.235), (6.055,17.085,6.205,17.235), (14.315,17.085,14.465,17.235), (14.635,17.085,14.785,17.235), (22.895,17.085,23.045,17.235), (23.215,17.085,23.365,17.235), (31.475,17.085,31.625,17.235), (31.795,17.085,31.945,17.235), (40.055,17.085,40.205,17.235), (40.375,17.085,40.525,17.235), (48.635,17.085,48.785,17.235), (48.955,17.085,49.105,17.235), (57.215,17.085,57.365,17.235), (57.535,17.085,57.685,17.235), (65.795,17.085,65.945,17.235), (66.115,17.085,66.265,17.235), (10.025,18.065,10.175,18.215), (10.345,18.065,10.495,18.215), (27.185,18.065,27.335,18.215), (27.505,18.065,27.655,18.215), (44.345,18.065,44.495,18.215), (44.665,18.065,44.815,18.215), (61.505,18.065,61.655,18.215), (61.825,18.065,61.975,18.215), (10.025,18.385,10.175,18.535), (10.345,18.385,10.495,18.535), (27.185,18.385,27.335,18.535), (27.505,18.385,27.655,18.535), (44.345,18.385,44.495,18.535), (44.665,18.385,44.815,18.535), (61.505,18.385,61.655,18.535), (61.825,18.385,61.975,18.535), (1.445,19.365,1.595,19.515), (1.765,19.365,1.915,19.515), (18.605,19.365,18.755,19.515), (18.925,19.365,19.075,19.515), (35.765,19.365,35.915,19.515), (36.085,19.365,36.235,19.515), (52.925,19.365,53.075,19.515), (53.245,19.365,53.395,19.515), (70.085,19.365,70.235,19.515), (70.405,19.365,70.555,19.515), (1.445,19.685,1.595,19.835), (1.765,19.685,1.915,19.835), (18.605,19.685,18.755,19.835), (18.925,19.685,19.075,19.835), (35.765,19.685,35.915,19.835), (36.085,19.685,36.235,19.835), (52.925,19.685,53.075,19.835), (53.245,19.685,53.395,19.835), (70.085,19.685,70.235,19.835), (70.405,19.685,70.555,19.835), (3.59,22.065,3.74,22.215), (3.91,22.065,4.06,22.215), (7.88,22.065,8.03,22.215), (8.2,22.065,8.35,22.215), (12.17,22.065,12.32,22.215), (12.49,22.065,12.64,22.215), (16.46,22.065,16.61,22.215), (16.78,22.065,16.93,22.215), (20.75,22.065,20.9,22.215), (21.07,22.065,21.22,22.215), (25.04,22.065,25.19,22.215), (25.36,22.065,25.51,22.215), (29.33,22.065,29.48,22.215), (29.65,22.065,29.8,22.215), (33.62,22.065,33.77,22.215), (33.94,22.065,34.09,22.215), (37.91,22.065,38.06,22.215), (38.23,22.065,38.38,22.215), (42.2,22.065,42.35,22.215), (42.52,22.065,42.67,22.215), (46.49,22.065,46.64,22.215), (46.81,22.065,46.96,22.215), (50.78,22.065,50.93,22.215), (51.1,22.065,51.25,22.215), (55.07,22.065,55.22,22.215), (55.39,22.065,55.54,22.215), (59.36,22.065,59.51,22.215), (59.68,22.065,59.83,22.215), (63.65,22.065,63.8,22.215), (63.97,22.065,64.12,22.215), (67.94,22.065,68.09,22.215), (68.26,22.065,68.41,22.215), (3.59,22.385,3.74,22.535), (3.91,22.385,4.06,22.535), (7.88,22.385,8.03,22.535), (8.2,22.385,8.35,22.535), (12.17,22.385,12.32,22.535), (12.49,22.385,12.64,22.535), (16.46,22.385,16.61,22.535), (16.78,22.385,16.93,22.535), (20.75,22.385,20.9,22.535), (21.07,22.385,21.22,22.535), (25.04,22.385,25.19,22.535), (25.36,22.385,25.51,22.535), (29.33,22.385,29.48,22.535), (29.65,22.385,29.8,22.535), (33.62,22.385,33.77,22.535), (33.94,22.385,34.09,22.535), (37.91,22.385,38.06,22.535), (38.23,22.385,38.38,22.535), (42.2,22.385,42.35,22.535), (42.52,22.385,42.67,22.535), (46.49,22.385,46.64,22.535), (46.81,22.385,46.96,22.535), (50.78,22.385,50.93,22.535), (51.1,22.385,51.25,22.535), (55.07,22.385,55.22,22.535), (55.39,22.385,55.54,22.535), (59.36,22.385,59.51,22.535), (59.68,22.385,59.83,22.535), (63.65,22.385,63.8,22.535), (63.97,22.385,64.12,22.535), (67.94,22.385,68.09,22.535), (68.26,22.385,68.41,22.535)])
A(cmp2s_arr, met2, 23.36, 4.7, 25.28, 0.8, 1, 3, 0, 2.5)
A(cmp2s_arr, met2, 5.57, 16.6, 0.8, 0.1, 8, 2, 8.58, 0.7)
A(cmp2s_arr, met2, 1.28, 16.7, 69.44, 0.6, 1, 3, 0, 1.3)
A(cmp2s_arr, met2, 9.86, 17.9, 0.8, 0.1, 4, 2, 17.16, 0.7)
A(cmp2s_arr, met2, 1.28, 19.2, 0.8, 0.1, 5, 2, 17.16, 0.7)
R(cmp2s_arr, met2, [(26.42,0.4,46,1.2), (55.455,5.8,56.255,5.9), (58.035,5.8,58.835,5.9), (54.165,5.9,58.835,6.5), (55.455,6.5,56.255,6.6), (58.035,6.5,58.835,6.6), (60.2,6.8,65.9,7.6), (54.165,8.2,54.965,8.3), (56.745,8.2,57.545,8.3), (54.165,8.3,58.835,8.9), (54.165,8.9,54.965,9), (56.745,8.9,57.545,9), (64,10.6,64.8,11.4), (54.81,11,58.19,11.6), (64.1,11.4,64.7,16.7), (24.38,14,47.62,14.8), (1.28,21.9,70.72,22.7)])
cmp2s_arr.add(gdstk.Reference(sky130_fd_pr__nfet_01v8_, (36,7.6)))
cmp2s_arr.add(gdstk.Reference(sky130_fd_pr__pfet_01v8_, (62.5,11)))
cmp2s_arr.add(gdstk.Reference(c_sky130_fd_pr__nfet_01v8_, (62.5,3.6)))
cmp2s_arr.add(gdstk.Reference(c_sky130_fd_pr__pfet_01v8_, (56.5,7.6)))
cmp2s_arr.add(gdstk.Reference(c_sky130_fd_pr__pfet_01v8__, (36,18.4)))
cmp2s_arr.add(gdstk.Reference(sky130_fd_sc_hd__inv_1, (65,6)))

cmp2s = lib.new_cell('cmp2s')
R(cmp2s, met1_pin, [(22.99,-1.2,23.79,-0.4), (66.8,7.7,67.2,8.1)])
R(cmp2s, met1, [(22.99,-1.2,23.79,-0.4), (66.8,7.7,67.2,8.1), (62.2,8.3,62.8,8.9)])
R(cmp2s, via, [(62.265,8.365,62.415,8.515), (62.585,8.365,62.735,8.515), (62.265,8.685,62.415,8.835), (62.585,8.685,62.735,8.835)])
R(cmp2s, met2_pin, [(26.42,0.4,27.22,1.2), (23.36,7.2,24.16,8), (54.165,8.3,54.965,8.9), (24.38,14,25.18,14.8), (69.92,16.7,70.72,17.3)])
R(cmp2s, met2, [(26.42,0.4,27.22,1.2), (46.6,4.7,47.4,5.5), (58.035,5.8,58.835,6.6), (23.36,7.2,24.16,8), (62.1,8.2,62.9,8.3), (54.165,8.3,54.965,8.9), (58.835,8.3,62.9,8.9), (62.1,8.9,62.9,9), (34.6,9.7,35.4,10.5), (46.6,10.9,47.4,11), (46.6,11,54.81,11.6), (46.6,11.6,47.4,11.7), (24.38,14,25.18,14.8), (58.035,16.6,58.835,17.4), (69.92,16.7,70.72,17.3), (46.6,17.9,47.4,18.7), (34.6,19.2,35.4,20), (34.6,21.9,35.4,22.7)])
R(cmp2s, via2, [(46.7,4.8,46.9,5), (47.1,4.8,47.3,5), (46.7,5.2,46.9,5.4), (47.1,5.2,47.3,5.4), (58.135,5.9,58.335,6.1), (58.535,5.9,58.735,6.1), (58.135,6.3,58.335,6.5), (58.535,6.3,58.735,6.5), (34.7,9.8,34.9,10), (35.1,9.8,35.3,10), (34.7,10.2,34.9,10.4), (35.1,10.2,35.3,10.4), (46.7,11,46.9,11.2), (47.1,11,47.3,11.2), (46.7,11.4,46.9,11.6), (47.1,11.4,47.3,11.6), (58.135,16.7,58.335,16.9), (58.535,16.7,58.735,16.9), (58.135,17.1,58.335,17.3), (58.535,17.1,58.735,17.3), (46.7,18,46.9,18.2), (47.1,18,47.3,18.2), (46.7,18.4,46.9,18.6), (47.1,18.4,47.3,18.6), (34.7,19.3,34.9,19.5), (35.1,19.3,35.3,19.5), (34.7,19.7,34.9,19.9), (35.1,19.7,35.3,19.9), (34.7,22,34.9,22.2), (35.1,22,35.3,22.2), (34.7,22.4,34.9,22.6), (35.1,22.4,35.3,22.6)])
R(cmp2s, met3, [(46.55,4.65,47.45,5.55), (46.6,5.55,47.4,10.85), (57.985,5.75,58.885,6.65), (58.035,6.65,58.835,16.55), (34.55,9.65,35.45,10.55), (34.6,10.55,35.4,19.15), (46.55,10.85,47.45,11.75), (46.6,11.75,47.4,17.85), (57.985,16.55,58.885,17.45), (46.55,17.85,47.45,18.75), (34.55,19.15,35.45,20.05), (34.6,20.05,35.4,21.85), (34.55,21.85,35.45,22.75)])
cmp2s.add(gdstk.Reference(cmp2s_arr, (0,0)))
cmp2s.add(gdstk.Label('vthr', (24.78,14.4), layer=69, texttype=5))
cmp2s.add(gdstk.Label('vcap', (26.82,0.8), layer=69, texttype=5))
cmp2s.add(gdstk.Label('ib_cmp1', (23.76,7.6), layer=69, texttype=5))
cmp2s.add(gdstk.Label('ib_cmp2', (54.565,8.6), layer=69, texttype=5))
cmp2s.add(gdstk.Label('VDPWR', (70.32,17), layer=69, texttype=5))
cmp2s.add(gdstk.Label('cmp_raw', (67,7.9), layer=68, texttype=5))
cmp2s.add(gdstk.Label('VGND', (23.39,-0.8), layer=68, texttype=5))

lib.write_gds('cmp2s.gds')
